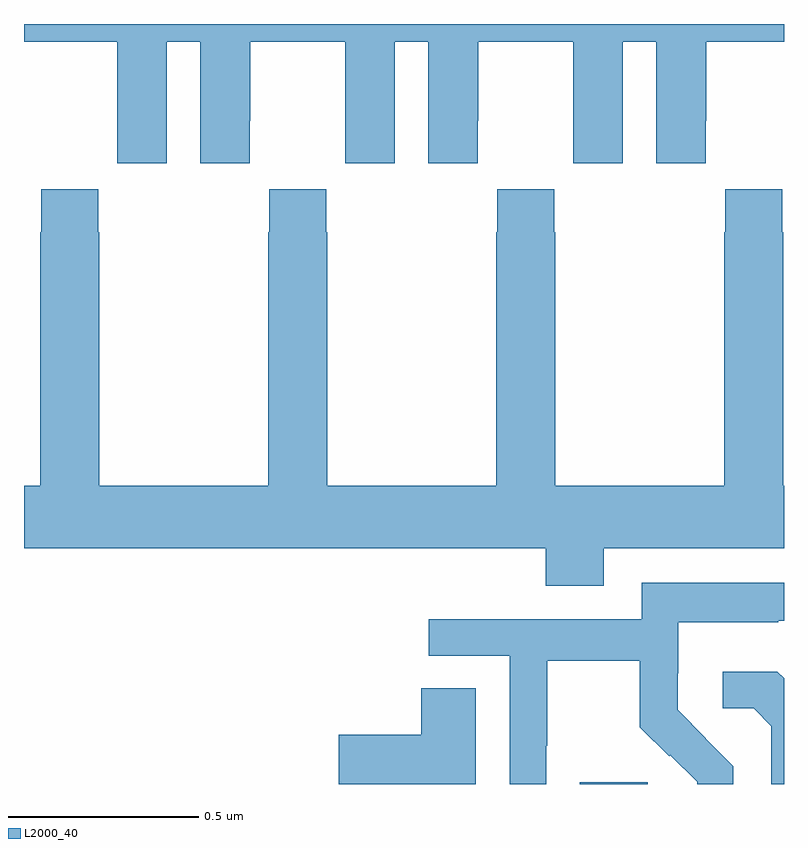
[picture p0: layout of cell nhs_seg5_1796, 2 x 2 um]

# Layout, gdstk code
import gdstk
lib = gdstk.Library(unit=1e-6, precision=1e-09)
def R(c, l, rs):  # rectangles x0, y0, x1, y1
    for r in rs: c.add(gdstk.rectangle(r[:2], r[2:], *l))
def P(c, l, *ps):  # polygons
    for p in ps: c.add(gdstk.Polygon(p, *l))
L2000_40 = (2000, 40)

nhs_seg5_1796 = lib.new_cell('nhs_seg5_1796')
R(nhs_seg5_1796, L2000_40, [(136.463,862.799,136.642,862.803)])
P(nhs_seg5_1796, L2000_40, [(136.664,864.432),(136.794,864.432),(136.794,864.544),(136.795,864.544),(136.795,864.752),(137,864.752),(137,864.799),(135,864.799),(135,864.752),(135.245,864.752),(135.245,864.544),(135.246,864.544),(135.246,864.432),(135.376,864.432),(135.376,864.752),(135.464,864.752),(135.464,864.432),(135.594,864.432),(135.594,864.544),(135.595,864.544),(135.595,864.752),(135.845,864.752),(135.845,864.544),(135.846,864.544),(135.846,864.432),(135.976,864.432),(135.976,864.752),(136.064,864.752),(136.064,864.432),(136.194,864.432),(136.194,864.544),(136.195,864.544),(136.195,864.752),(136.445,864.752),(136.445,864.544),(136.446,864.544),(136.446,864.432),(136.576,864.432),(136.576,864.752),(136.664,864.752)],
  [(136.525,863.42),(137,863.42),(137,863.584),(136.998,863.584),(136.998,864.251),(136.995,864.251),(136.995,864.364),(136.845,864.364),(136.845,864.251),(136.843,864.251),(136.843,863.584),(136.398,863.584),(136.398,864.251),(136.395,864.251),(136.395,864.364),(136.245,864.364),(136.245,864.251),(136.243,864.251),(136.243,863.584),(135.798,863.584),(135.798,864.251),(135.795,864.251),(135.795,864.364),(135.645,864.364),(135.645,864.251),(135.643,864.251),(135.643,863.584),(135.198,863.584),(135.198,864.251),(135.195,864.251),(135.195,864.364),(135.045,864.364),(135.045,864.251),(135.043,864.251),(135.043,863.584),(135,863.584),(135,863.42),(136.373,863.42),(136.373,863.321),(136.525,863.321)],
  [(136.374,862.9),(136.377,862.9),(136.377,863.124),(136.621,863.124),(136.621,862.949),(136.698,862.872),(136.701,862.875),(136.772,862.805),(136.772,862.799),(136.866,862.799),(136.866,862.846),(136.793,862.919),(136.794,862.92),(136.72,862.994),(136.72,863.091),(136.722,863.091),(136.722,863.225),(136.985,863.225),(136.985,863.229),(137,863.229),(137,863.329),(136.626,863.329),(136.626,863.232),(136.065,863.232),(136.065,863.136),(136.278,863.136),(136.278,862.799),(136.374,862.799)],
  [(137,863.077),(136.982,863.095),(136.839,863.095),(136.839,862.998),(136.92,862.998),(136.967,862.951),(136.967,862.799),(137,862.799)],
  [(136.189,863.051),(136.046,863.051),(136.046,862.928),(135.828,862.928),(135.828,862.799),(136.189,862.799)])

lib.write_gds('nhs_seg5_1796.gds')
